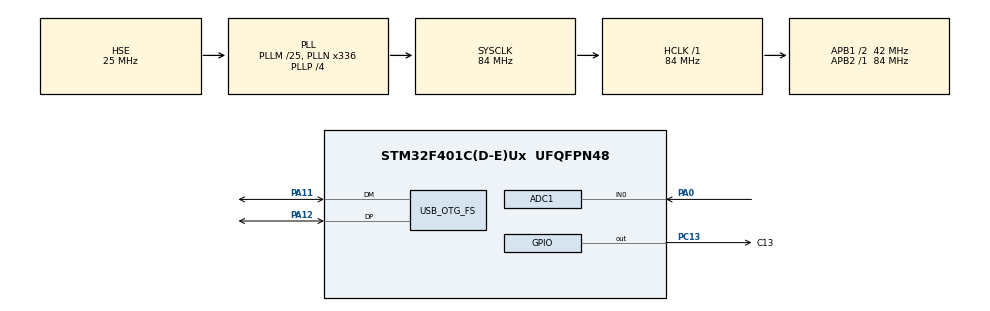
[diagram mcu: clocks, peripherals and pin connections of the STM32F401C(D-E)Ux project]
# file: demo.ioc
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ADC1.Channel-0\#ChannelRegularConversion=ADC_CHANNEL_0
ADC1.Channel-1\#ChannelRegularConversion=ADC_CHANNEL_TEMPSENSOR
ADC1.Channel-2\#ChannelRegularConversion=ADC_CHANNEL_VREFINT
ADC1.DiscontinuousConvMode=ENABLE
ADC1.NbrOfConversion=3
ADC1.NbrOfConversionFlag=1
ADC1.Rank-0\#ChannelRegularConversion=1
ADC1.Rank-1\#ChannelRegularConversion=2
ADC1.Rank-2\#ChannelRegularConversion=3
ADC1.SamplingTime-0\#ChannelRegularConversion=ADC_SAMPLETIME_144CYCLES
ADC1.SamplingTime-1\#ChannelRegularConversion=ADC_SAMPLETIME_144CYCLES
ADC1.SamplingTime-2\#ChannelRegularConversion=ADC_SAMPLETIME_144CYCLES
ADC1.master=1
Mcu.Family=STM32F4
Mcu.Name=STM32F401C(D-E)Ux
Mcu.Package=UFQFPN48
NVIC.OTG_FS_IRQn=true\:0\:0\:false\:false\:true\:false\:true\:true
NVIC.PriorityGroup=NVIC_PRIORITYGROUP_4
PA0-WKUP.Signal=ADCx_IN0
PA11.Mode=Device_Only
PA11.Signal=USB_OTG_FS_DM
PA12.Mode=Device_Only
PA12.Signal=USB_OTG_FS_DP
PA13.Mode=Serial_Wire
PA13.Signal=SYS_JTMS-SWDIO
PA14.Mode=Serial_Wire
PA14.Signal=SYS_JTCK-SWCLK
PC13-ANTI_TAMP.GPIO_Label=C13
PC13-ANTI_TAMP.PinState=GPIO_PIN_SET
PC13-ANTI_TAMP.Signal=GPIO_Output
PC14-OSC32_IN.Mode=LSE-External-Oscillator
PC14-OSC32_IN.Signal=RCC_OSC32_IN
PC15-OSC32_OUT.Mode=LSE-External-Oscillator
PC15-OSC32_OUT.Signal=RCC_OSC32_OUT
PH0\ -\ OSC_IN.Mode=HSE-External-Oscillator
PH0\ -\ OSC_IN.Signal=RCC_OSC_IN
PH1\ -\ OSC_OUT.Mode=HSE-External-Oscillator
PH1\ -\ OSC_OUT.Signal=RCC_OSC_OUT
ProjectManager.HeapSize=0x800
ProjectManager.StackSize=0x400
ProjectManager.TargetToolchain=MDK-ARM V5
RCC.48MHZClocksFreq_Value=48000000
RCC.AHBFreq_Value=84000000
RCC.APB1CLKDivider=RCC_HCLK_DIV2
RCC.APB1Freq_Value=42000000
RCC.APB1TimFreq_Value=84000000
RCC.APB2Freq_Value=84000000
RCC.APB2TimFreq_Value=84000000
RCC.CortexFreq_Value=84000000
RCC.HCLKFreq_Value=84000000
RCC.HSE_VALUE=25000000
RCC.HSI_VALUE=16000000
RCC.PLLM=25
RCC.PLLN=336
RCC.PLLP=RCC_PLLP_DIV4
RCC.PLLQ=7
RCC.RCC_RTC_Clock_Source=RCC_RTCCLKSOURCE_LSE
RCC.RCC_RTC_Clock_SourceVirtual=RCC_RTCCLKSOURCE_LSE
RCC.SYSCLKFreq_VALUE=84000000
RCC.SYSCLKSource=RCC_SYSCLKSOURCE_PLLCLK
RCC.VCOOutputFreq_Value=336000000
RTC.Month=RTC_MONTH_JUNE
RTC.Year=20
SH.ADCx_IN0.0=ADC1_IN0,IN0
USB_DEVICE.CLASS_NAME_FS=CDC
USB_DEVICE.VirtualMode-CDC_FS=Cdc
USB_DEVICE.VirtualModeFS=Cdc_FS
USB_OTG_FS.VirtualMode=Device_Only
VP_ADC1_TempSens_Input.Mode=IN-TempSens
VP_ADC1_Vref_Input.Mode=IN-Vrefint
VP_RTC_VS_RTC_Activate.Mode=RTC_Enabled
VP_RTC_VS_RTC_Calendar.Mode=RTC_Calendar
VP_USB_DEVICE_VS_USB_DEVICE_CDC_FS.Mode=CDC_FS
board=custom

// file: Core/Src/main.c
/* USER CODE BEGIN Header */

// WeAct Studio 微行工作�?
// https://github.com/WeActTC/
// 淘宝搜索：WeAct Studio
// STM32F401CEU6 Core Board
// Board Version: V3.0
// 收到的板子没有Logo `WeAct` && `版本号` 的均不是我们生产，很有可能为盗版
// >> demo

/**
  ******************************************************************************
  * @file           : main.c
  * @brief          : Main program body
  ******************************************************************************
  * @attention
  *
  * <h2><center>&copy; Copyright (c) 2020 STMicroelectronics.
  * All rights reserved.</center></h2>
  *
  * This software component is licensed by ST under Ultimate Liberty license
  * SLA0044, the "License"; You may not use this file except in compliance with
  * the License. You may obtain a copy of the License at:
  *                             www.st.com/SLA0044
  *
  ******************************************************************************
  */
/* USER CODE END Header */
#include "main.h"
#include "adc.h"
#include "rtc.h"
#include "usb_device.h"
#include "gpio.h"

/* USER CODE BEGIN Includes */
#include "usbd_cdc_if.h"
/* USER CODE END Includes */

void SystemClock_Config(void);
/* USER CODE BEGIN PFP */
__IO uint16_t uhADCxConvertedValue[3];
__IO uint32_t uhADCxInputVoltage[3];
uint32_t adc1_in0,vrefint;
float tempsensor;
/* USER CODE END PFP */

/* USER CODE BEGIN 0 */
static void LED_Blink(uint32_t Hdelay,uint32_t Ldelay)
{
	HAL_GPIO_WritePin(C13_GPIO_Port,C13_Pin,GPIO_PIN_RESET);
	HAL_Delay(Hdelay - 1);
	HAL_GPIO_WritePin(C13_GPIO_Port,C13_Pin,GPIO_PIN_SET);
	HAL_Delay(Ldelay-1);
}
/**
  * @brief  Get the current time and date.
  * @param
  * @retval None
  */
static void RTC_CalendarGet(RTC_DateTypeDef *sdatestructureget,RTC_TimeTypeDef *stimestructureget)
{
  /* 必须同时获取时间和日�? 不然会导致下次RTC不能读取 */
  /* Both time and date must be obtained or RTC cannot be read next time */
  /* Get the RTC current Time */
  HAL_RTC_GetTime(&hrtc, stimestructureget, RTC_FORMAT_BIN);
  /* Get the RTC current Date */
  HAL_RTC_GetDate(&hrtc, sdatestructureget, RTC_FORMAT_BIN);
}
 /*
  *power by WeAct Studio
  *The board with `WeAct` Logo && `version number` is our board, quality guarantee.
  *For more information please visit: https://github.com/WeActTC/MiniF4-STM32F4x1
  *更多信息请访问：https://gitee.com/WeActTC/MiniF4-STM32F4x1
  */
/* USER CODE END 0 */

int main(void)
{

  /* MCU Configuration--------------------------------------------------------*/

  /* Reset of all peripherals, Initializes the Flash interface and the Systick. */
  HAL_Init();

  /* Configure the system clock */
  SystemClock_Config();

  /* Initialize all configured peripherals */
  MX_GPIO_Init();
  MX_ADC1_Init();
  MX_RTC_Init();
  MX_USB_DEVICE_Init();

  /* Infinite loop */
  /* USER CODE BEGIN WHILE */
	RTC_DateTypeDef sdatestructureget;
	RTC_TimeTypeDef stimestructureget;
	uint8_t text[40];
	int32_t size;
  while (1)
  {
    /* USER CODE END WHILE */

    /* USER CODE BEGIN 3 */

		RTC_CalendarGet(&sdatestructureget,&stimestructureget);
		size=sprintf((char *)&text,"\r\nWeAct Studio\r\n20%02d/%02d/%02d %02d:%02d\r\n",sdatestructureget.Year,sdatestructureget.Month,sdatestructureget.Date,
																																						stimestructureget.Hours,stimestructureget.Minutes);
		CDC_Transmit_FS(text,size);
		LED_Blink(5,100);

		for(uint32_t i = 0;i<(sizeof(uhADCxConvertedValue)/sizeof(uint16_t));i++)
		{
			/*##-1- Start the conversion process #######################################*/
			if (HAL_ADC_Start(&hadc1) != HAL_OK)
			{
				/* Start Conversation Error */
				Error_Handler();
			}
			/*##-2- Wait for the end of conversion #####################################*/
			/*  For simplicity reasons, this example is just waiting till the end of the
					conversion, but application may perform other tasks while conversion
					operation is ongoing. */
			if (HAL_ADC_PollForConversion(&hadc1, 100) != HAL_OK)
			{
				/* End Of Conversion flag not set on time */
				Error_Handler();
			}
			else
			{
				/* ADC conversion completed */
				/*##-3- Get the converted value of regular channel  ########################*/
				uhADCxConvertedValue[i] = HAL_ADC_GetValue(&hadc1);

				/* Convert the result from 12 bit value to the voltage dimension (mV unit) */
				/* Vref = 3.3 V */
				uhADCxInputVoltage[i] = ((uhADCxConvertedValue[i] * 3300) / 0xFFF);
			}
		}
		HAL_ADC_Stop(&hadc1);

		#define V25  (760)  // mV, V25: 0.76V,datasheet P112
		#define Avg_Slope ((float)2.5) // mV/°C

		adc1_in0  = uhADCxInputVoltage[0]; // mv
		tempsensor = ((float)uhADCxInputVoltage[1] - V25)/Avg_Slope + 25; // °C
		vrefint    = uhADCxInputVoltage[2]; // type. 1200mV

		size=sprintf((char *)&text," PA0: %4dmV\r\nVref: %4dmV\r\ntemp: %.1f 'C\r\n",adc1_in0,vrefint,tempsensor);
		CDC_Transmit_FS(text,size);
		LED_Blink(5,2000);
  }
  /* USER CODE END 3 */
}

void SystemClock_Config(void)
{
  RCC_OscInitTypeDef RCC_OscInitStruct = {0};
  RCC_ClkInitTypeDef RCC_ClkInitStruct = {0};

  /** Configure the main internal regulator output voltage
  */
  __HAL_RCC_PWR_CLK_ENABLE();
  __HAL_PWR_VOLTAGESCALING_CONFIG(PWR_REGULATOR_VOLTAGE_SCALE2);

  /** Initializes the RCC Oscillators according to the specified parameters
  * in the RCC_OscInitTypeDef structure.
  */
  RCC_OscInitStruct.OscillatorType = RCC_OSCILLATORTYPE_HSE|RCC_OSCILLATORTYPE_LSE;
  RCC_OscInitStruct.HSEState = RCC_HSE_ON;
  RCC_OscInitStruct.LSEState = RCC_LSE_ON;
  RCC_OscInitStruct.PLL.PLLState = RCC_PLL_ON;
  RCC_OscInitStruct.PLL.PLLSource = RCC_PLLSOURCE_HSE;
  RCC_OscInitStruct.PLL.PLLM = 25;
  RCC_OscInitStruct.PLL.PLLN = 336;
  RCC_OscInitStruct.PLL.PLLP = RCC_PLLP_DIV4;
  RCC_OscInitStruct.PLL.PLLQ = 7;
  if (HAL_RCC_OscConfig(&RCC_OscInitStruct) != HAL_OK)
  {
    Error_Handler();
  }

  /** Initializes the CPU, AHB and APB buses clocks
  */
  RCC_ClkInitStruct.ClockType = RCC_CLOCKTYPE_HCLK|RCC_CLOCKTYPE_SYSCLK
                              |RCC_CLOCKTYPE_PCLK1|RCC_CLOCKTYPE_PCLK2;
  RCC_ClkInitStruct.SYSCLKSource = RCC_SYSCLKSOURCE_PLLCLK;
  RCC_ClkInitStruct.AHBCLKDivider = RCC_SYSCLK_DIV1;
  RCC_ClkInitStruct.APB1CLKDivider = RCC_HCLK_DIV2;
  RCC_ClkInitStruct.APB2CLKDivider = RCC_HCLK_DIV1;

  if (HAL_RCC_ClockConfig(&RCC_ClkInitStruct, FLASH_LATENCY_2) != HAL_OK)
  {
    Error_Handler();
  }
}

void Error_Handler(void)
{
  /* USER CODE BEGIN Error_Handler_Debug */
  /* User can add his own implementation to report the HAL error return state */
  while(1)
		LED_Blink(500,500);
  /* USER CODE END Error_Handler_Debug */
}
